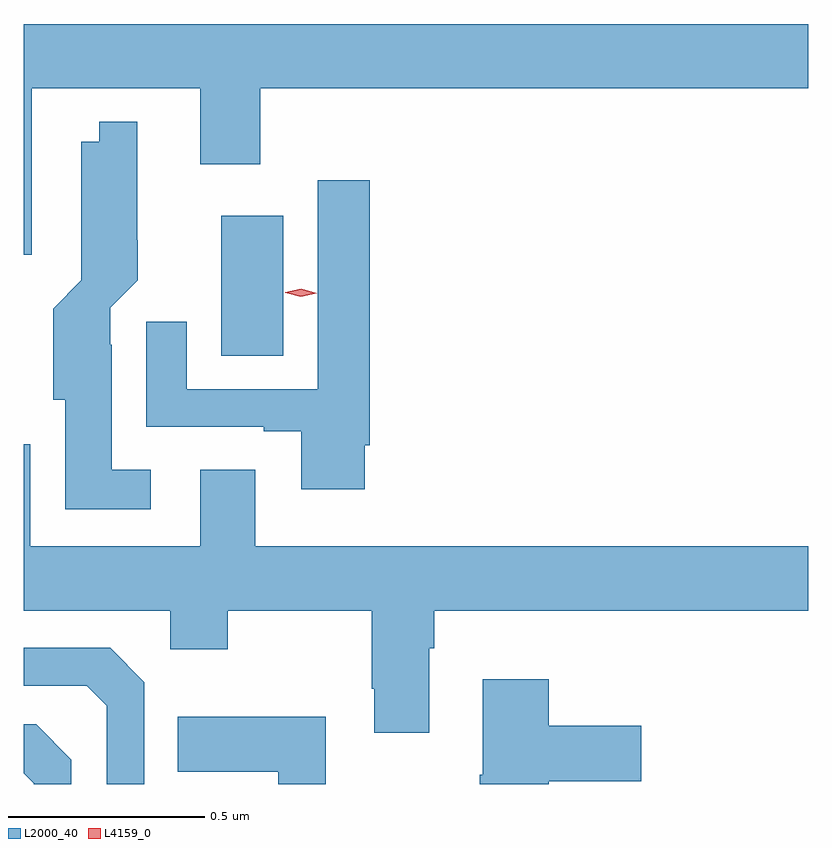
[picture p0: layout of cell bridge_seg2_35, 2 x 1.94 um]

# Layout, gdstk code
import gdstk
lib = gdstk.Library(unit=1e-6, precision=1e-09)
def R(c, l, rs):  # rectangles x0, y0, x1, y1
    for r in rs: c.add(gdstk.rectangle(r[:2], r[2:], *l))
def P(c, l, *ps):  # polygons
    for p in ps: c.add(gdstk.Polygon(p, *l))
L2000_40 = (2000, 40)
L4159_0 = (4159, 0)

bridge_seg2_35 = lib.new_cell('bridge_seg2_35')
R(bridge_seg2_35, L2000_40, [(753.629,638.962,753.787,639.319)])
P(bridge_seg2_35, L2000_40, [(753.145,639.644),(753.575,639.644),(753.575,639.45),(753.728,639.45),(753.728,639.644),(755.125,639.644),(755.125,639.808),(753.125,639.808),(753.125,639.219),(753.145,639.219)],
  [(753.448,638.671),(753.349,638.671),(753.349,638.99),(753.345,638.99),(753.345,639.084),(753.415,639.154),(753.415,639.256),(753.414,639.256),(753.414,639.559),(753.317,639.559),(753.317,639.508),(753.272,639.508),(753.272,639.154),(753.2,639.082),(753.2,638.85),(753.23,638.85),(753.23,638.57),(753.448,638.57)],
  [(753.994,638.734),(754.007,638.734),(754.007,639.409),(753.875,639.409),(753.875,638.877),(753.541,638.877),(753.541,639.049),(753.437,639.049),(753.437,638.781),(753.737,638.781),(753.737,638.769),(753.833,638.769),(753.833,638.622),(753.994,638.622)],
  [(754.159,638.216),(754.172,638.216),(754.172,638.312),(755.125,638.312),(755.125,638.476),(753.715,638.476),(753.715,638.671),(753.575,638.671),(753.575,638.476),(753.141,638.476),(753.141,638.737),(753.125,638.737),(753.125,638.312),(753.498,638.312),(753.498,638.213),(753.645,638.213),(753.645,638.312),(754.012,638.312),(754.012,638.113),(754.019,638.113),(754.019,638.001),(754.159,638.001)],
  [(753.432,638.13),(753.345,638.217),(753.125,638.217),(753.125,638.121),(753.285,638.121),(753.336,638.07),(753.336,637.87),(753.432,637.87)],
  [(754.463,637.877),(754.699,637.877),(754.699,638.019),(754.463,638.019),(754.463,638.137),(754.295,638.137),(754.295,637.893),(754.288,637.893),(754.288,637.87),(754.463,637.87)],
  [(753.895,638.041),(753.517,638.041),(753.517,637.901),(753.774,637.901),(753.774,637.87),(753.895,637.87)],
  [(753.246,637.932),(753.156,638.022),(753.125,638.022),(753.125,637.897),(753.15,637.872),(753.15,637.87),(753.246,637.87)])
P(bridge_seg2_35, L4159_0, [(753.831,639.113),(753.791,639.123),(753.791,639.124),(753.791,639.124),(753.832,639.133),(753.872,639.122),(753.872,639.122),(753.872,639.122)])

lib.write_gds('bridge_seg2_35.gds')
